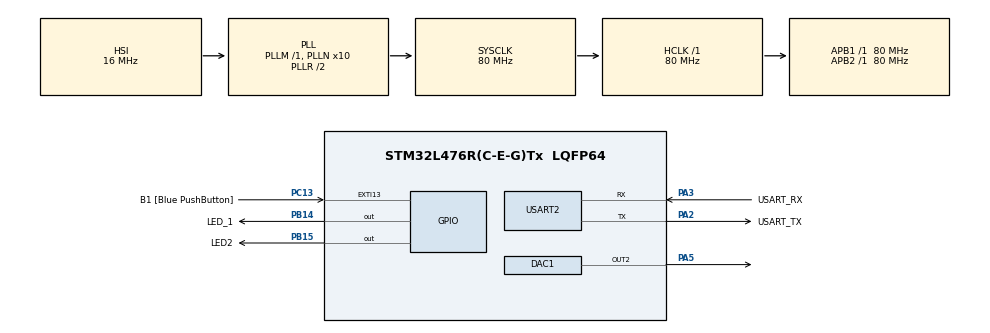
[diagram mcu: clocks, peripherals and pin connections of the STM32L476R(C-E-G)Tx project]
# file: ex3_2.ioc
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DAC1.DAC_Channel-DAC_OUT2=DAC_CHANNEL_2
Mcu.Family=STM32L4
Mcu.Name=STM32L476R(C-E-G)Tx
Mcu.Package=LQFP64
NVIC.PriorityGroup=NVIC_PRIORITYGROUP_4
NVIC.USART2_IRQn=true\:0\:0\:false\:false\:true\:true\:true
PA13\ (JTMS-SWDIO).GPIO_Label=TMS
PA13\ (JTMS-SWDIO).Mode=Serial_Wire
PA13\ (JTMS-SWDIO).Signal=SYS_JTMS-SWDIO
PA14\ (JTCK-SWCLK).GPIO_Label=TCK
PA14\ (JTCK-SWCLK).Mode=Serial_Wire
PA14\ (JTCK-SWCLK).Signal=SYS_JTCK-SWCLK
PA2.GPIO_Label=USART_TX
PA2.GPIO_Mode=GPIO_MODE_AF_PP
PA2.GPIO_PuPd=GPIO_NOPULL
PA2.GPIO_Speed=GPIO_SPEED_FREQ_VERY_HIGH
PA2.Mode=Asynchronous
PA2.Signal=USART2_TX
PA3.GPIO_Label=USART_RX
PA3.GPIO_Mode=GPIO_MODE_AF_PP
PA3.GPIO_PuPd=GPIO_NOPULL
PA3.GPIO_Speed=GPIO_SPEED_FREQ_VERY_HIGH
PA3.Mode=Asynchronous
PA3.Signal=USART2_RX
PA5.Signal=SharedAnalog_PA5
PB14.GPIO_Label=LED_1
PB14.Signal=GPIO_Output
PB15.GPIO_Label=LED2
PB15.Signal=GPIO_Output
PB3\ (JTDO-TRACESWO).GPIO_Label=SWO
PB3\ (JTDO-TRACESWO).Signal=SYS_JTDO-SWO
PC13.GPIO_Label=B1 [Blue PushButton]
PC13.GPIO_ModeDefaultEXTI=GPIO_MODE_IT_FALLING
PC13.GPIO_PuPd=GPIO_NOPULL
PC13.Signal=GPXTI13
PC14-OSC32_IN\ (PC14).Mode=LSE-External-Oscillator
PC14-OSC32_IN\ (PC14).Signal=RCC_OSC32_IN
PC15-OSC32_OUT\ (PC15).Mode=LSE-External-Oscillator
PC15-OSC32_OUT\ (PC15).Signal=RCC_OSC32_OUT
PH0-OSC_IN\ (PH0).Signal=RCC_OSC_IN
PH1-OSC_OUT\ (PH1).Signal=RCC_OSC_OUT
ProjectManager.HeapSize=0x200
ProjectManager.StackSize=0x400
ProjectManager.TargetToolchain=STM32CubeIDE
RCC.ADCFreq_Value=64000000
RCC.AHBFreq_Value=80000000
RCC.APB1Freq_Value=80000000
RCC.APB1TimFreq_Value=80000000
RCC.APB2Freq_Value=80000000
RCC.APB2TimFreq_Value=80000000
RCC.CortexFreq_Value=80000000
RCC.HCLKFreq_Value=80000000
RCC.HSE_VALUE=8000000
RCC.HSI_VALUE=16000000
RCC.MSI_VALUE=4000000
RCC.PLLN=10
RCC.PLLSourceVirtual=RCC_PLLSOURCE_HSI
RCC.PREFETCH_ENABLE=1
RCC.SYSCLKFreq_VALUE=80000000
RCC.SYSCLKSource=RCC_SYSCLKSOURCE_PLLCLK
RCC.USBFreq_Value=64000000
RCC.VCOOutputFreq_Value=160000000
SH.SharedAnalog_PA5.0=GPIO_Analog
SH.SharedAnalog_PA5.1=DAC1_OUT2,DAC_OUT2
USART2.VirtualMode-Asynchronous=VM_ASYNC
board=NUCLEO-L476RG

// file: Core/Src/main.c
/* USER CODE BEGIN Header */
/**
  ******************************************************************************
  * @file           : main.c
  * @brief          : Main program body
  ******************************************************************************
  * @attention
  *
  * <h2><center>&copy; Copyright (c) 2021 STMicroelectronics.
  * All rights reserved.</center></h2>
  *
  * This software component is licensed by ST under BSD 3-Clause license,
  * the "License"; You may not use this file except in compliance with the
  * License. You may obtain a copy of the License at:
  *                        opensource.org/licenses/BSD-3-Clause
  *
  ******************************************************************************
  */
/* USER CODE END Header */
#include "main.h"
#include "dac.h"
#include "usart.h"
#include "gpio.h"

/* USER CODE BEGIN Includes */
#include <stdio.h>
/* USER CODE END Includes */

void SystemClock_Config(void);
/* USER CODE BEGIN PFP */
int _write(int file, char *ptr, int len){
	HAL_UART_Transmit_IT(&huart2, ptr, len);
	return len;
}
/* USER CODE END PFP */

int main(void)
{
  /* USER CODE BEGIN 1 */
	int Value=0;
  /* USER CODE END 1 */

  /* MCU Configuration--------------------------------------------------------*/

  /* Reset of all peripherals, Initializes the Flash interface and the Systick. */
  HAL_Init();

  /* Configure the system clock */
  SystemClock_Config();

  /* Initialize all configured peripherals */
  MX_GPIO_Init();
  MX_USART2_UART_Init();
  MX_DAC1_Init();
  /* USER CODE BEGIN 2 */
  HAL_DAC_SetValue(&hdac1 , DAC_CHANNEL_2, DAC_ALIGN_8B_R, 0);
  HAL_DAC_Start(&hdac1 , DAC_CHANNEL_2);
  HAL_GPIO_WritePin(LED_1_GPIO_Port, LED_1_Pin, GPIO_PIN_SET);
  HAL_GPIO_WritePin(LED2_GPIO_Port, LED2_Pin, GPIO_PIN_SET);

  /* USER CODE END 2 */

  /* Infinite loop */
  /* USER CODE BEGIN WHILE */
  while (1)
  {
	  Value=0;
	  HAL_DAC_SetValue(&hdac1 , DAC_CHANNEL_2, DAC_ALIGN_8B_R, Value);
	  printf("Wartosc napieca: 0.0[V] \r\n");
	  HAL_Delay(2000);

	  Value=255*0.5/(33)*10;
	  HAL_DAC_SetValue(&hdac1 , DAC_CHANNEL_2, DAC_ALIGN_8B_R, Value);
	  printf("Wartosc napieca: 0.5[V] \r\n");
	  HAL_Delay(2000);

	  Value=255*1.0*10/(33);
	  HAL_DAC_SetValue(&hdac1 , DAC_CHANNEL_2, DAC_ALIGN_8B_R, Value);
	  printf("Wartosc napieca: 1.0[V] \r\n");
	  HAL_Delay(2000);

	  Value=255*1.5*10/(33);
	  HAL_DAC_SetValue(&hdac1 , DAC_CHANNEL_2, DAC_ALIGN_8B_R, Value);
	  printf("Wartosc napieca: 1.5[V] \r\n");
	  HAL_Delay(2000);

	  Value=255*2.0*10/(33);
	  HAL_DAC_SetValue(&hdac1 , DAC_CHANNEL_2, DAC_ALIGN_8B_R, Value);
	  printf("Wartosc napieca: 2.0[V] \r\n" );
	  HAL_Delay(2000);

	  Value=255*2.5*10/(33);
	  HAL_DAC_SetValue(&hdac1 , DAC_CHANNEL_2, DAC_ALIGN_8B_R, Value);
	  printf("Wartosc napieca: 2.5[V] \r\n ");
	  HAL_Delay(2000);

	  Value=255*3.0*10/(33);
	  HAL_DAC_SetValue(&hdac1 , DAC_CHANNEL_2, DAC_ALIGN_8B_R, Value);
	  printf("Wartosc napieca: 3.0[V] \r\n");
	  HAL_Delay(2000);

	  Value=255*3.3*10/(33);
	  HAL_DAC_SetValue(&hdac1 , DAC_CHANNEL_2, DAC_ALIGN_8B_R, Value);
	  printf("Wartosc napieca: 3.3[V] \r\n");
	  HAL_Delay(2000);
    /* USER CODE END WHILE */

  }
}

void SystemClock_Config(void)
{
  RCC_OscInitTypeDef RCC_OscInitStruct = {0};
  RCC_ClkInitTypeDef RCC_ClkInitStruct = {0};
  RCC_PeriphCLKInitTypeDef PeriphClkInit = {0};

  /** Initializes the RCC Oscillators according to the specified parameters
  * in the RCC_OscInitTypeDef structure.
  */
  RCC_OscInitStruct.OscillatorType = RCC_OSCILLATORTYPE_HSI;
  RCC_OscInitStruct.HSIState = RCC_HSI_ON;
  RCC_OscInitStruct.HSICalibrationValue = RCC_HSICALIBRATION_DEFAULT;
  RCC_OscInitStruct.PLL.PLLState = RCC_PLL_ON;
  RCC_OscInitStruct.PLL.PLLSource = RCC_PLLSOURCE_HSI;
  RCC_OscInitStruct.PLL.PLLM = 1;
  RCC_OscInitStruct.PLL.PLLN = 10;
  RCC_OscInitStruct.PLL.PLLP = RCC_PLLP_DIV7;
  RCC_OscInitStruct.PLL.PLLQ = RCC_PLLQ_DIV2;
  RCC_OscInitStruct.PLL.PLLR = RCC_PLLR_DIV2;
  if (HAL_RCC_OscConfig(&RCC_OscInitStruct) != HAL_OK)
  {
    Error_Handler();
  }
  /** Initializes the CPU, AHB and APB buses clocks
  */
  RCC_ClkInitStruct.ClockType = RCC_CLOCKTYPE_HCLK|RCC_CLOCKTYPE_SYSCLK
                              |RCC_CLOCKTYPE_PCLK1|RCC_CLOCKTYPE_PCLK2;
  RCC_ClkInitStruct.SYSCLKSource = RCC_SYSCLKSOURCE_PLLCLK;
  RCC_ClkInitStruct.AHBCLKDivider = RCC_SYSCLK_DIV1;
  RCC_ClkInitStruct.APB1CLKDivider = RCC_HCLK_DIV1;
  RCC_ClkInitStruct.APB2CLKDivider = RCC_HCLK_DIV1;

  if (HAL_RCC_ClockConfig(&RCC_ClkInitStruct, FLASH_LATENCY_4) != HAL_OK)
  {
    Error_Handler();
  }
  PeriphClkInit.PeriphClockSelection = RCC_PERIPHCLK_USART2;
  PeriphClkInit.Usart2ClockSelection = RCC_USART2CLKSOURCE_PCLK1;
  if (HAL_RCCEx_PeriphCLKConfig(&PeriphClkInit) != HAL_OK)
  {
    Error_Handler();
  }
  /** Configure the main internal regulator output voltage
  */
  if (HAL_PWREx_ControlVoltageScaling(PWR_REGULATOR_VOLTAGE_SCALE1) != HAL_OK)
  {
    Error_Handler();
  }
}

void Error_Handler(void)
{
}

/************************ (C) COPYRIGHT STMicroelectronics *****END OF FILE****/
